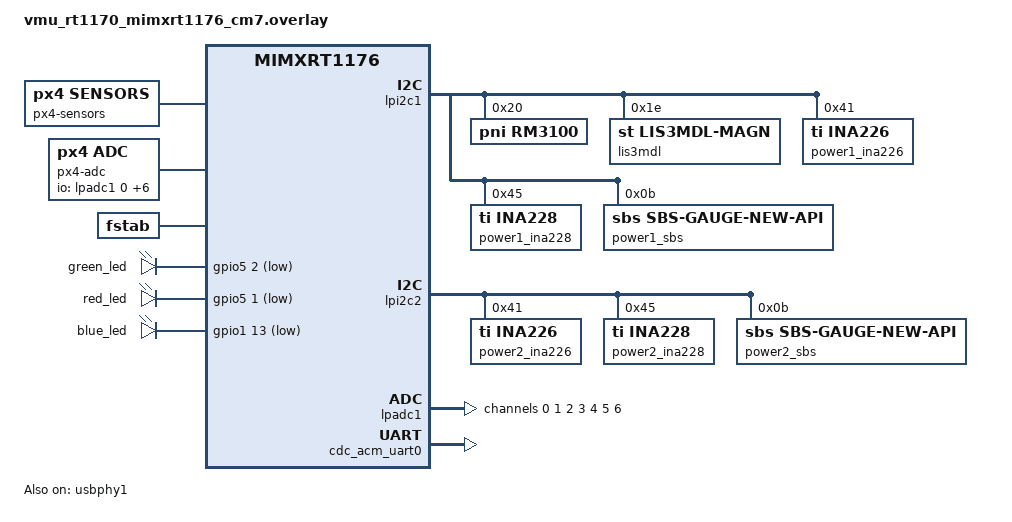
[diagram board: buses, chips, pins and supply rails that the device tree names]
/*
 * VMU RT1170 with a Holybro M10 GPS on GPS1 (--shield holybro_m10), sensor orientation and serial
 * ports as in boards/px4/fmu-v6xrt/init/rc.board_sensors, the SD card and CAN buses
 */

#include <dt-bindings/px4/rotation.h>
#include <zephyr/dt-bindings/gpio/gpio.h>
#include <zephyr/dt-bindings/adc/adc.h>
#include <zephyr/dt-bindings/adc/mcux-lpadc.h>
#include <zephyr/dt-bindings/pwm/pwm.h>
#include <zephyr/dt-bindings/sensor/icm42686.h>
#include <zephyr/dt-bindings/sensor/icm42688.h>

/ {
	px4-sensors {
		compatible = "px4,sensors";

		imu0 {
			sensor = <&icm42686_0>;
			type = "imu";
			rotation = <PX4_ROTATION_PITCH_180>;
		};

		imu1 {
			sensor = <&icm42688_0>;
			type = "imu";
			rotation = <PX4_ROTATION_YAW_270>;
		};

		accel2 {
			sensor = <&bmi08x_accel>;
			type = "accel";
			rotation = <PX4_ROTATION_YAW_180>;
		};

		gyro2 {
			sensor = <&bmi08x_gyro>;
			type = "gyro";
			rotation = <PX4_ROTATION_YAW_180>;
		};

		mag0 {
			sensor = <&holybro_m10_mag>;
			type = "mag";
			rotation = <PX4_ROTATION_ROLL_180_YAW_90>;
			external;
		};

		mag1 {
			sensor = <&bmm150>;
			type = "mag";
		};

		mag2 {
			sensor = <&rm3100>;
			type = "mag";
			external;
		};

		mag3 {
			sensor = <&lis3mdl>;
			type = "mag";
			external;
		};

		baro0 {
			sensor = <&bmp388_0>;
			type = "baro";
		};

		baro1 {
			sensor = <&bmp388_1>;
			type = "baro";
		};

		power1-ina226 {
			sensor = <&power1_ina226>;
			type = "power";
			battery = <1>;
		};

		power1-ina228 {
			sensor = <&power1_ina228>;
			type = "power";
			battery = <1>;
		};

		power2-ina226 {
			sensor = <&power2_ina226>;
			type = "power";
			battery = <2>;
		};

		power2-ina228 {
			sensor = <&power2_ina228>;
			type = "power";
			battery = <2>;
		};

		power1-smart-battery {
			sensor = <&power1_sbs>;
			type = "fuel-gauge";
			battery = <1>;
		};

		power2-smart-battery {
			sensor = <&power2_sbs>;
			type = "fuel-gauge";
			battery = <2>;
		};
	};

	px4-serial-ports {
		compatible = "px4,serial-ports";

		gps1 {
			uart = <&pixhawk_full_gps1_serial>;
			path = "/dev/ttyS1";
		};

		telem1 {
			uart = <&pixhawk_telem1>;
			path = "/dev/ttyS2";
		};

		gps2 {
			uart = <&pixhawk_gps2_serial>;
			path = "/dev/ttyS3";
		};

		telem2 {
			uart = <&pixhawk_telem2>;
			path = "/dev/ttyS5";
		};

		telem3 {
			uart = <&lpuart10>;
			path = "/dev/ttyS6";
		};

		ext2 {
			uart = <&lpuart11>;
			path = "/dev/ttyS7";
		};

		usb {
			uart = <&cdc_acm_uart0>;
			path = "/dev/ttyACM0";
		};
	};

	px4-can-buses {
		compatible = "px4,can-buses";

		can1 {
			can = <&flexcan1>;
		};

		can2 {
			can = <&flexcan2>;
		};

		can3 {
			can = <&flexcan3>;
		};
	};

	/*
	 * FMU_CH1 to FMU_CH8 of FMU-v6XRT (boards/px4/fmu-v6xrt/src/timer_config.cpp), at 400 Hz. The
	 * nxp,prescaler of the board limits the period to 17 ms.
	 */
	px4-pwm-outputs {
		compatible = "px4,pwm-outputs";

		main1 {
			pwms = <&flexpwm1_pwm0 0 PWM_HZ(400) PWM_POLARITY_NORMAL>;
		};

		main2 {
			pwms = <&flexpwm1_pwm1 0 PWM_HZ(400) PWM_POLARITY_NORMAL>;
		};

		main3 {
			pwms = <&flexpwm1_pwm2 0 PWM_HZ(400) PWM_POLARITY_NORMAL>;
		};

		main4 {
			pwms = <&flexpwm2_pwm0 0 PWM_HZ(400) PWM_POLARITY_NORMAL>;
		};

		main5 {
			pwms = <&flexpwm2_pwm1 0 PWM_HZ(400) PWM_POLARITY_NORMAL>;
		};

		main6 {
			pwms = <&flexpwm2_pwm2 0 PWM_HZ(400) PWM_POLARITY_NORMAL>;
		};

		main7 {
			pwms = <&flexpwm2_pwm3 0 PWM_HZ(400) PWM_POLARITY_NORMAL>;
		};

		main8 {
			pwms = <&flexpwm3_pwm0 0 PWM_HZ(400) PWM_POLARITY_NORMAL>;
		};
	};

	/*
	 * the board LEDs of FMU-v6XRT, and the LED of the safety switch and the RGB LED of the GPS module
	 */
	px4-leds {
		compatible = "px4,leds";
		blue = <&blue_led>;
		red = <&red_led>;
		green = <&green_led>;
		safety = <&holybro_m10_safety_led>;
		rgb = <&gnss_led>;
	};

	/* the safety switch of the GPS module */
	px4-safety-button {
		compatible = "px4,safety-button";
		button = <&holybro_m10_safety_switch>;
	};

	/*
	 * the ADC channels of FMU-v6XRT (boards/px4/fmu-v6xrt/src/board_config.h), in the order of their
	 * channel numbers with NuttX, 4 to 11: the 3.3 V rails of the sensors, the 5 V rail and the
	 * inputs of the ADC connector
	 */
	px4-adc {
		compatible = "px4,adc";
		io-channels = <&lpadc1 0>, <&lpadc1 1>, <&lpadc1 2>, <&lpadc1 3>, <&lpadc1 4>, <&lpadc1 5>,
			      <&lpadc1 6>;
		io-channel-names = "scaled-vdd-3v3-sensors1", "scaled-vdd-3v3-sensors2",
				   "scaled-vdd-3v3-sensors3", "scaled-v5", "adc-6v6", "adc-3v3",
				   "scaled-vdd-3v3-sensors4";
	};

	fstab {
		compatible = "zephyr,fstab";

		sd {
			compatible = "zephyr,fstab,fatfs";
			mount-point = "/SD:";
			automount;
			disk-access;
		};
	};
};

/*
 * the output data rates and full scales of the IMU drivers of FMU-v6XRT: 8 kHz for the ICM-4268x,
 * whose FIFO watermark the zephyr_sensors driver sets for IMU_GYRO_RATEMAX, 1600 Hz for the
 * accelerometer of the BMI088 and 2000 Hz for its gyroscope, with FIFO watermarks for the default
 * IMU_GYRO_RATEMAX, 400 Hz
 */
&icm42686_0 {
	accel-odr = <ICM42686_DT_ACCEL_ODR_8000>;
	accel-fs = <ICM42686_DT_ACCEL_FS_32>;
	gyro-odr = <ICM42686_DT_GYRO_ODR_8000>;
	gyro-fs = <ICM42686_DT_GYRO_FS_4000>;
};

&icm42688_0 {
	accel-odr = <ICM42688_DT_ACCEL_ODR_8000>;
	gyro-odr = <ICM42688_DT_GYRO_ODR_8000>;
};

&bmi08x_accel {
	accel-hz = "1600";
	fifo-watermark = <4>;
};

&bmi08x_gyro {
	gyro-hz = "2000_532";
	gyro-fs = <2000>;
	fifo-watermark = <5>;
};

/* the RC receiver is on TELEM1, read by the crsf_rc driver, instead of the SBUS input */
&lpuart6 {
	/delete-node/ sbus;
	status = "disabled";
};

/*
 * compasses of GPS modules on GPS1, and the power module or smart battery on POWER1, used if
 * they respond
 */
&lpi2c1 {
	rm3100: rm3100@20 {
		compatible = "pni,rm3100";
		reg = <0x20>;
		zephyr,deferred-init;
	};

	lis3mdl: lis3mdl@1e {
		compatible = "st,lis3mdl-magn";
		reg = <0x1e>;
		zephyr,deferred-init;
	};

	power1_ina226: ina226@41 {
		compatible = "ti,ina226";
		reg = <0x41>;
		zephyr,deferred-init;
		rshunt-micro-ohms = <500>;
		current-lsb-microamps = <5000>;
		avg-count = <64>;
		vbus-conversion-time-us = <588>;
		vshunt-conversion-time-us = <588>;
	};

	power1_ina228: ina228@45 {
		compatible = "ti,ina228";
		reg = <0x45>;
		zephyr,deferred-init;
		rshunt-micro-ohms = <500>;
		current-lsb-microamps = <625>;
	};

	power1_sbs: sbs-gauge@b {
		compatible = "sbs,sbs-gauge-new-api";
		reg = <0xb>;
		zephyr,deferred-init;
	};
};

/*
 * digital power modules on POWER1 and POWER2, with the shunts and current ranges of the
 * INA226_* and INA228_* parameters, and the smart battery on POWER2
 */
&lpi2c2 {
	power2_ina226: ina226@41 {
		compatible = "ti,ina226";
		reg = <0x41>;
		zephyr,deferred-init;
		rshunt-micro-ohms = <500>;
		current-lsb-microamps = <5000>;
		avg-count = <64>;
		vbus-conversion-time-us = <588>;
		vshunt-conversion-time-us = <588>;
	};

	power2_ina228: ina228@45 {
		compatible = "ti,ina228";
		reg = <0x45>;
		zephyr,deferred-init;
		rshunt-micro-ohms = <500>;
		current-lsb-microamps = <625>;
	};

	power2_sbs: sbs-gauge@b {
		compatible = "sbs,sbs-gauge-new-api";
		reg = <0xb>;
		zephyr,deferred-init;
	};
};

&holybro_m10_mag {
	zephyr,deferred-init;
};

/*
 * the LEDs of FMU-v6XRT are active low and open drain (boards/px4/fmu-v6xrt/src/board_config.h), but
 * the board devicetree has the green one active high
 */
&green_led {
	gpios = <&gpio5 2 (GPIO_ACTIVE_LOW | GPIO_OPEN_DRAIN)>;
};

&red_led {
	gpios = <&gpio5 1 (GPIO_ACTIVE_LOW | GPIO_OPEN_DRAIN)>;
};

&blue_led {
	gpios = <&gpio1 13 (GPIO_ACTIVE_LOW | GPIO_OPEN_DRAIN)>;
};

/* this barometer reads the chip ID of a BMP390, 0x60, which the board devicetree has as a BMP388 */
&bmp388_0 {
	compatible = "bosch,bmp390";
};

/* the IS31FL3195 of the GPS module, used if it responds */
&holybro_m10_rgb_led {
	zephyr,deferred-init;

	gnss_led: led_0 {
	};
};

&pinctrl {
	pinmux_px4_lpadc1: pinmux_px4_lpadc1 {
		group0 {
			pinmux = <&iomuxc_gpio_ad_10_adc1_ch2a>,
				 <&iomuxc_gpio_ad_11_adc1_ch2b>,
				 <&iomuxc_gpio_ad_12_adc1_ch3a>,
				 <&iomuxc_gpio_ad_13_adc1_ch3b>,
				 <&iomuxc_gpio_ad_14_adc1_ch4a>,
				 <&iomuxc_gpio_ad_16_adc1_ch5a>,
				 <&iomuxc_gpio_ad_17_adc1_ch5b>;
			drive-strength = "normal";
			slew-rate = "slow";
		};
	};
};

/*
 * the channels of FMU-v6XRT on LPADC1, with the reference (REFSEL option 1), sample time (131 ADC
 * clocks) and resolution of NuttX. The LPADC scales the inputs by 30/64, which the Zephyr ADC API
 * takes as the 1/2 gain: the 1825 mV reference of NuttX is given as 1825 * 64 / 60 mV, for the
 * full scale of 3.893 V of NuttX (BOARD_ADC_POS_REF_V).
 */
&lpadc1 {
	#address-cells = <1>;
	#size-cells = <0>;
	pinctrl-0 = <&pinmux_px4_lpadc1>;
	pinctrl-names = "default";
	voltage-ref = <0>;
	status = "okay";

	channel@0 {
		reg = <0>;
		zephyr,gain = "ADC_GAIN_1_2";
		zephyr,reference = "ADC_REF_EXTERNAL0";
		zephyr,vref-mv = <1947>;
		zephyr,acquisition-time = <ADC_ACQ_TIME(ADC_ACQ_TIME_TICKS, 131)>;
		zephyr,resolution = <12>;
		zephyr,input-positive = <MCUX_LPADC_CH2A>;
	};

	channel@1 {
		reg = <1>;
		zephyr,gain = "ADC_GAIN_1_2";
		zephyr,reference = "ADC_REF_EXTERNAL0";
		zephyr,vref-mv = <1947>;
		zephyr,acquisition-time = <ADC_ACQ_TIME(ADC_ACQ_TIME_TICKS, 131)>;
		zephyr,resolution = <12>;
		zephyr,input-positive = <MCUX_LPADC_CH2B>;
	};

	channel@2 {
		reg = <2>;
		zephyr,gain = "ADC_GAIN_1_2";
		zephyr,reference = "ADC_REF_EXTERNAL0";
		zephyr,vref-mv = <1947>;
		zephyr,acquisition-time = <ADC_ACQ_TIME(ADC_ACQ_TIME_TICKS, 131)>;
		zephyr,resolution = <12>;
		zephyr,input-positive = <MCUX_LPADC_CH3A>;
	};

	channel@3 {
		reg = <3>;
		zephyr,gain = "ADC_GAIN_1_2";
		zephyr,reference = "ADC_REF_EXTERNAL0";
		zephyr,vref-mv = <1947>;
		zephyr,acquisition-time = <ADC_ACQ_TIME(ADC_ACQ_TIME_TICKS, 131)>;
		zephyr,resolution = <12>;
		zephyr,input-positive = <MCUX_LPADC_CH3B>;
	};

	channel@4 {
		reg = <4>;
		zephyr,gain = "ADC_GAIN_1_2";
		zephyr,reference = "ADC_REF_EXTERNAL0";
		zephyr,vref-mv = <1947>;
		zephyr,acquisition-time = <ADC_ACQ_TIME(ADC_ACQ_TIME_TICKS, 131)>;
		zephyr,resolution = <12>;
		zephyr,input-positive = <MCUX_LPADC_CH4A>;
	};

	channel@5 {
		reg = <5>;
		zephyr,gain = "ADC_GAIN_1_2";
		zephyr,reference = "ADC_REF_EXTERNAL0";
		zephyr,vref-mv = <1947>;
		zephyr,acquisition-time = <ADC_ACQ_TIME(ADC_ACQ_TIME_TICKS, 131)>;
		zephyr,resolution = <12>;
		zephyr,input-positive = <MCUX_LPADC_CH5A>;
	};

	channel@6 {
		reg = <6>;
		zephyr,gain = "ADC_GAIN_1_2";
		zephyr,reference = "ADC_REF_EXTERNAL0";
		zephyr,vref-mv = <1947>;
		zephyr,acquisition-time = <ADC_ACQ_TIME(ADC_ACQ_TIME_TICKS, 131)>;
		zephyr,resolution = <12>;
		zephyr,input-positive = <MCUX_LPADC_CH5B>;
	};
};

/*
 * LPADC2 senses the hardware version and revision, which PX4 doesn't read on Zephyr, and the pad
 * that the Zephyr board configures for it, GPIO_AD_10, is an input of LPADC1
 */
&lpadc2 {
	status = "disabled";
};

&zephyr_udc0 {
	phy-handle = <&usbphy1>;

	cdc_acm_uart0: cdc_acm_uart0 {
		compatible = "zephyr,cdc-acm-uart";
	};
};

/* calibration of the MIMXRT1170-EVK */
&usbphy1 {
	status = "okay";
	tx-d-cal = <7>;
	tx-cal-45-dp-ohms = <6>;
	tx-cal-45-dm-ohms = <6>;
};
